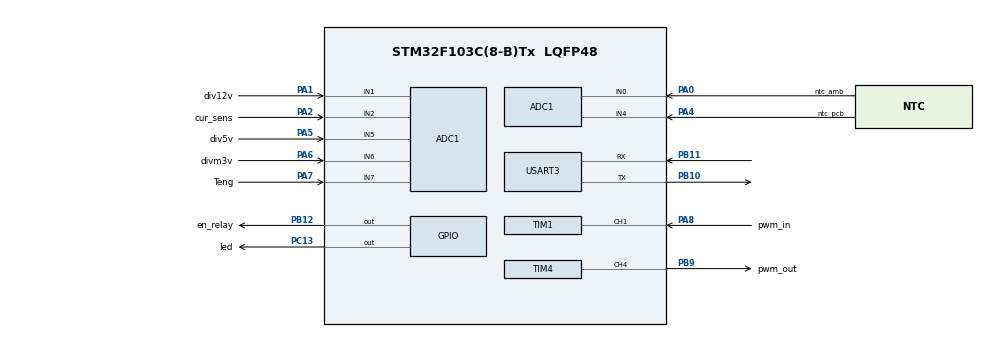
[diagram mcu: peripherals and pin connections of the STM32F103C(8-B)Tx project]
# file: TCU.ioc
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ADC1.Channel-10\#ChannelRegularConversion=ADC_CHANNEL_4
ADC1.Channel-11\#ChannelRegularConversion=ADC_CHANNEL_5
ADC1.Channel-12\#ChannelRegularConversion=ADC_CHANNEL_6
ADC1.Channel-13\#ChannelRegularConversion=ADC_CHANNEL_7
ADC1.Channel-5\#ChannelRegularConversion=ADC_CHANNEL_0
ADC1.Channel-6\#ChannelRegularConversion=ADC_CHANNEL_1
ADC1.Channel-7\#ChannelRegularConversion=ADC_CHANNEL_2
ADC1.Channel-8\#ChannelRegularConversion=ADC_CHANNEL_TEMPSENSOR
ADC1.Channel-9\#ChannelRegularConversion=ADC_CHANNEL_VREFINT
ADC1.ContinuousConvMode=DISABLE
ADC1.DataAlign=ADC_DATAALIGN_RIGHT
ADC1.EnableRegularConversion=ENABLE
ADC1.NbrOfConversion=9
ADC1.NbrOfConversionFlag=1
ADC1.Rank-10\#ChannelRegularConversion=6
ADC1.Rank-11\#ChannelRegularConversion=7
ADC1.Rank-12\#ChannelRegularConversion=8
ADC1.Rank-13\#ChannelRegularConversion=9
ADC1.Rank-5\#ChannelRegularConversion=1
ADC1.Rank-6\#ChannelRegularConversion=2
ADC1.Rank-7\#ChannelRegularConversion=3
ADC1.Rank-8\#ChannelRegularConversion=4
ADC1.Rank-9\#ChannelRegularConversion=5
ADC1.SamplingTime-10\#ChannelRegularConversion=ADC_SAMPLETIME_239CYCLES_5
ADC1.SamplingTime-11\#ChannelRegularConversion=ADC_SAMPLETIME_239CYCLES_5
ADC1.SamplingTime-12\#ChannelRegularConversion=ADC_SAMPLETIME_239CYCLES_5
ADC1.SamplingTime-13\#ChannelRegularConversion=ADC_SAMPLETIME_239CYCLES_5
ADC1.SamplingTime-5\#ChannelRegularConversion=ADC_SAMPLETIME_239CYCLES_5
ADC1.SamplingTime-6\#ChannelRegularConversion=ADC_SAMPLETIME_239CYCLES_5
ADC1.SamplingTime-7\#ChannelRegularConversion=ADC_SAMPLETIME_239CYCLES_5
ADC1.SamplingTime-8\#ChannelRegularConversion=ADC_SAMPLETIME_239CYCLES_5
ADC1.SamplingTime-9\#ChannelRegularConversion=ADC_SAMPLETIME_239CYCLES_5
ADC1.master=1
Dma.ADC1.0.Direction=DMA_PERIPH_TO_MEMORY
Dma.ADC1.0.Instance=DMA1_Channel1
Dma.ADC1.0.MemDataAlignment=DMA_MDATAALIGN_HALFWORD
Dma.ADC1.0.MemInc=DMA_MINC_ENABLE
Dma.ADC1.0.Mode=DMA_NORMAL
Dma.ADC1.0.PeriphDataAlignment=DMA_PDATAALIGN_HALFWORD
Dma.ADC1.0.PeriphInc=DMA_PINC_DISABLE
Dma.ADC1.0.Priority=DMA_PRIORITY_MEDIUM
Dma.Request0=ADC1
IWDG.Prescaler=IWDG_PRESCALER_8
IWDG.Reload=2500
Mcu.Family=STM32F1
Mcu.Name=STM32F103C(8-B)Tx
Mcu.Package=LQFP48
NVIC.DMA1_Channel1_IRQn=true\:0\:0\:false\:false\:true\:false\:true\:true
NVIC.PriorityGroup=NVIC_PRIORITYGROUP_4
NVIC.TIM1_CC_IRQn=true\:0\:0\:false\:false\:true\:true\:true\:true
NVIC.TIM1_UP_IRQn=true\:0\:0\:false\:false\:true\:true\:true\:true
NVIC.TIM2_IRQn=true\:0\:0\:false\:false\:true\:true\:true\:true
NVIC.USART3_IRQn=true\:1\:0\:true\:false\:true\:true\:true\:true
PA0-WKUP.GPIO_Label=ntc_amb
PA0-WKUP.Signal=ADCx_IN0
PA1.GPIO_Label=div12v
PA1.Signal=ADCx_IN1
PA13.Mode=Serial_Wire
PA13.Signal=SYS_JTMS-SWDIO
PA14.Mode=Serial_Wire
PA14.Signal=SYS_JTCK-SWCLK
PA2.GPIO_Label=cur_sens
PA2.Signal=ADCx_IN2
PA4.GPIO_Label=ntc_pcb
PA4.Signal=ADCx_IN4
PA5.GPIO_Label=div5v
PA5.Signal=ADCx_IN5
PA6.GPIO_Label=divm3v
PA6.Signal=ADCx_IN6
PA7.GPIO_Label=Teng
PA7.Signal=ADCx_IN7
PA8.GPIO_Label=pwm_in
PA8.Signal=S_TIM1_CH1
PB10.Mode=Asynchronous
PB10.Signal=USART3_TX
PB11.Mode=Asynchronous
PB11.Signal=USART3_RX
PB12.GPIO_Label=en_relay
PB12.Signal=GPIO_Output
PB9.GPIO_Label=pwm_out
PB9.GPIO_Speed=GPIO_SPEED_FREQ_HIGH
PB9.Signal=S_TIM4_CH4
PC13-TAMPER-RTC.GPIO_Label=led
PC13-TAMPER-RTC.Signal=GPIO_Output
PD0-OSC_IN.Mode=HSE-External-Oscillator
PD0-OSC_IN.Signal=RCC_OSC_IN
PD1-OSC_OUT.Mode=HSE-External-Oscillator
PD1-OSC_OUT.Signal=RCC_OSC_OUT
ProjectManager.HeapSize=0x100
ProjectManager.StackSize=0x400
ProjectManager.TargetToolchain=Makefile
RCC.ADCPresc=RCC_ADCPCLK2_DIV8
RCC.AHBFreq_Value=72000000
RCC.APB1CLKDivider=RCC_HCLK_DIV2
RCC.APB1Freq_Value=36000000
RCC.APB1TimFreq_Value=72000000
RCC.APB2CLKDivider=RCC_HCLK_DIV8
RCC.APB2Freq_Value=9000000
RCC.APB2TimFreq_Value=18000000
RCC.HCLKFreq_Value=72000000
RCC.PLLMUL=RCC_PLL_MUL9
RCC.PLLSourceVirtual=RCC_PLLSOURCE_HSE
RCC.SYSCLKFreq_VALUE=72000000
RCC.SYSCLKSource=RCC_SYSCLKSOURCE_PLLCLK
RCC.USBFreq_Value=72000000
SH.ADCx_IN0.0=ADC1_IN0,IN0
SH.ADCx_IN1.0=ADC1_IN1,IN1
SH.ADCx_IN2.0=ADC1_IN2,IN2
SH.ADCx_IN4.0=ADC1_IN4,IN4
SH.ADCx_IN5.0=ADC1_IN5,IN5
SH.ADCx_IN6.0=ADC1_IN6,IN6
SH.ADCx_IN7.0=ADC1_IN7,IN7
SH.S_TIM1_CH1.0=TIM1_CH1,Input_Capture1_from_TI1
SH.S_TIM4_CH4.0=TIM4_CH4,PWM Generation4 CH4
TIM1.Channel-Input_Capture1_from_TI1=TIM_CHANNEL_1
TIM1.Channel-Input_Capture2_from_TI1_63=TIM_CHANNEL_2
TIM1.ICFilter_CH1=2
TIM1.ICPolarity_CH2=TIM_INPUTCHANNELPOLARITY_FALLING
TIM1.Period=50000
TIM1.Prescaler=17
TIM2.AutoReloadPreload=TIM_AUTORELOAD_PRELOAD_ENABLE
TIM2.Period=50000
TIM2.Prescaler=71
TIM4.AutoReloadPreload=TIM_AUTORELOAD_PRELOAD_ENABLE
TIM4.Channel-PWM\ Generation4\ CH4=TIM_CHANNEL_4
TIM4.ClockDivision=TIM_CLOCKDIVISION_DIV1
TIM4.OCPolarity_4=TIM_OCPOLARITY_HIGH
TIM4.Period=1999
TIM4.Prescaler=35
USART3.VirtualMode=VM_ASYNC
VP_ADC1_TempSens_Input.Mode=IN-TempSens
VP_ADC1_Vref_Input.Mode=IN-Vrefint
VP_IWDG_VS_IWDG.Mode=IWDG_Activate
VP_TIM1_VS_ClockSourceINT.Mode=Internal
VP_TIM1_VS_indirect_ch1.Mode=Input_Capture2_from_TI1_63
VP_TIM2_VS_ClockSourceINT.Mode=Internal
VP_TIM4_VS_ClockSourceINT.Mode=Internal
VP_WWDG_VS_WWDG.Mode=WWDG_Activate
WWDG.Counter=127
WWDG.Prescaler=WWDG_PRESCALER_8
WWDG.Window=90
board=custom

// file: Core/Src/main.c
/* USER CODE BEGIN Header */
/**
  ******************************************************************************
  * @file           : main.c
  * @brief          : Main program body
  ******************************************************************************
  * @attention
  *
  * Copyright (c) 2023 STMicroelectronics.
  * All rights reserved.
  *
  * This software is licensed under terms that can be found in the LICENSE file
  * in the root directory of this software component.
  * If no LICENSE file comes with this software, it is provided AS-IS.
  *
  ******************************************************************************
  */
/* USER CODE END Header */
#include "main.h"
#include "adc.h"
#include "dma.h"
#include "iwdg.h"
#include "tim.h"
#include "usart.h"
#include "wwdg.h"
#include "gpio.h"

/* USER CODE BEGIN Includes */
#include "device.h"
#include "stm32f1xx_it.h"
#include "pid_regulator.h"
#include "usart_console.h"
#include "selftest.h"
#include "log.h"
/* USER CODE END Includes */

/* USER CODE BEGIN PV */
extern uint16_t dma_buffer[];
volatile uint64_t flash_signature __attribute__((section(".flash_info"))) __attribute__((used)) = FW_SIGNATURE;
/* USER CODE END PV */

void SystemClock_Config(void);

int main(void)
{
  /* USER CODE BEGIN 1 */
#ifdef CHECK_STACK_HEAP
  init_heap_check();
  init_stack_check();
#endif/* CHECK_STACK_HEAP */
  /* USER CODE END 1 */

  /* MCU Configuration--------------------------------------------------------*/

  /* Reset of all peripherals, Initializes the Flash interface and the Systick. */
  LL_APB2_GRP1_EnableClock(LL_APB2_GRP1_PERIPH_AFIO);
  LL_APB1_GRP1_EnableClock(LL_APB1_GRP1_PERIPH_PWR);

  /* System interrupt init*/
  NVIC_SetPriorityGrouping(NVIC_PRIORITYGROUP_4);

  /** NOJTAG: JTAG-DP Disabled and SW-DP Enabled
  */
  LL_GPIO_AF_Remap_SWJ_NOJTAG();

  /* Configure the system clock */
  SystemClock_Config();

  /* USER CODE BEGIN SysInit */
  SysTick ->CTRL |= SysTick_CTRL_TICKINT_Msk;/* Enable systick interrupt */
  /* USER CODE END SysInit */

  /* Initialize all configured peripherals */
  MX_GPIO_Init();
  MX_DMA_Init();
  MX_ADC1_Init();
  MX_TIM4_Init();
  MX_USART3_UART_Init();
  MX_TIM2_Init();
  MX_TIM1_Init();
  MX_IWDG_Init();
  MX_WWDG_Init();
  /* USER CODE BEGIN 2 */
  WAIT(1000); /* wait to finish all transient process */
  LL_GPIO_SetOutputPin(led_GPIO_Port,led_Pin);/* Disable green led */

  selftest_whole_test();
  /* USER CODE END 2 */

  /* Infinite loop */
  /* USER CODE BEGIN WHILE */
  while (1)
  {
    TASK(debug_handler,1000);
    TASK(console_handler,100);
    TASK(control_system,10);
    TASK(selftest_short_test,10000);
    TASK(log_handler, LOG_TIMEOUT);
    TASK(wdgs_refresh, 5);
    LED_TONGLE_MS(1000)
    /* USER CODE END WHILE */

  }
}

void SystemClock_Config(void)
{
  LL_FLASH_SetLatency(LL_FLASH_LATENCY_2);
  while(LL_FLASH_GetLatency()!= LL_FLASH_LATENCY_2)
  {
  }
  LL_RCC_HSE_Enable();

   /* Wait till HSE is ready */
  while(LL_RCC_HSE_IsReady() != 1)
  {

  }
  LL_RCC_LSI_Enable();

   /* Wait till LSI is ready */
  while(LL_RCC_LSI_IsReady() != 1)
  {

  }
  LL_RCC_PLL_ConfigDomain_SYS(LL_RCC_PLLSOURCE_HSE_DIV_1, LL_RCC_PLL_MUL_9);
  LL_RCC_PLL_Enable();

   /* Wait till PLL is ready */
  while(LL_RCC_PLL_IsReady() != 1)
  {

  }
  LL_RCC_SetAHBPrescaler(LL_RCC_SYSCLK_DIV_1);
  LL_RCC_SetAPB1Prescaler(LL_RCC_APB1_DIV_2);
  LL_RCC_SetAPB2Prescaler(LL_RCC_APB2_DIV_8);
  LL_RCC_SetSysClkSource(LL_RCC_SYS_CLKSOURCE_PLL);

   /* Wait till System clock is ready */
  while(LL_RCC_GetSysClkSource() != LL_RCC_SYS_CLKSOURCE_STATUS_PLL)
  {

  }
  LL_Init1msTick(72000000);
  LL_SetSystemCoreClock(72000000);
  LL_RCC_SetADCClockSource(LL_RCC_ADC_CLKSRC_PCLK2_DIV_8);
}

/* USER CODE BEGIN 4 */
void wdgs_refresh(void)
{
  wwdg_refresh();
  iwdg_refresh();
}
/* USER CODE END 4 */

void Error_Handler(void)
{
  __disable_irq();
  while (1)
  {
  }
}
